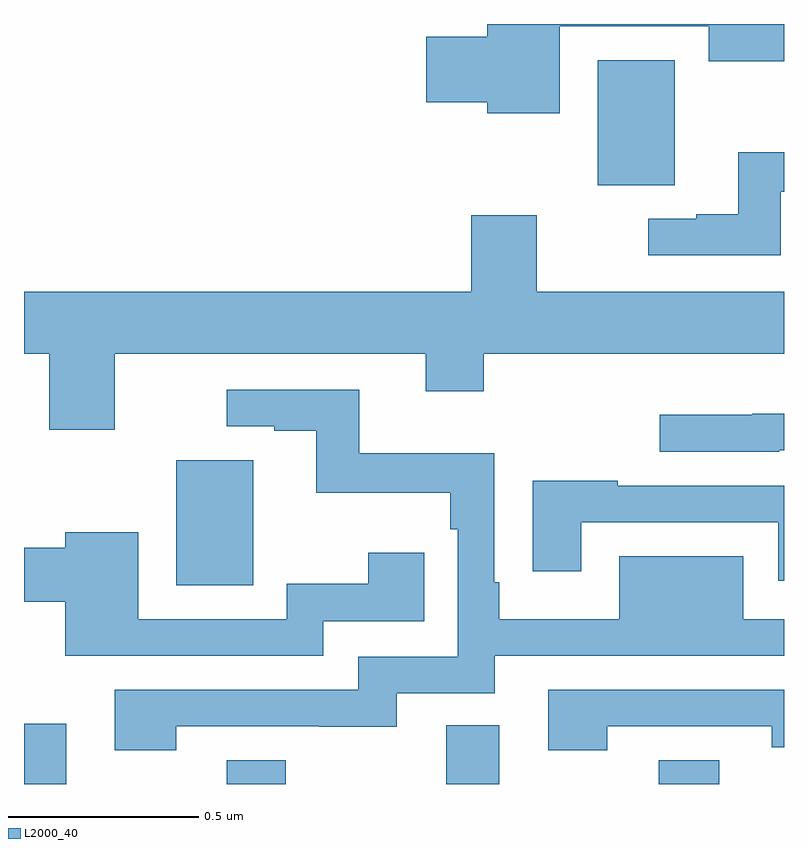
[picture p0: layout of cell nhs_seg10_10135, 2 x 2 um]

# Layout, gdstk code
import gdstk
lib = gdstk.Library(unit=1e-6, precision=1e-09)
def R(c, l, rs):  # rectangles x0, y0, x1, y1
    for r in rs: c.add(gdstk.rectangle(r[:2], r[2:], *l))
def P(c, l, *ps):  # polygons
    for p in ps: c.add(gdstk.Polygon(p, *l))
L2000_40 = (2000, 40)

nhs_seg10_10135 = lib.new_cell('nhs_seg10_10135')
R(nhs_seg10_10135, L2000_40, [(238,1316.5,238.111,1316.659), (238.534,1316.5,238.689,1316.563), (239.111,1316.5,239.251,1316.654), (239.671,1316.5,239.829,1316.563), (238.4,1317.023,238.603,1317.352), (239.51,1318.076,239.713,1318.405)])
P(nhs_seg10_10135, L2000_40, [(239.41,1318.494),(239.802,1318.494),(239.802,1318.402),(240,1318.402),(240,1318.5),(239.219,1318.5),(239.219,1318.467),(239.058,1318.467),(239.058,1318.294),(239.219,1318.294),(239.219,1318.265),(239.41,1318.265)],
  [(239.992,1318.058),(240,1318.058),(240,1318.162),(239.879,1318.162),(239.879,1318),(239.769,1318),(239.769,1317.987),(239.643,1317.987),(239.643,1317.891),(239.992,1317.891)],
  [(238.239,1317.632),(239.057,1317.632),(239.057,1317.533),(239.21,1317.533),(239.21,1317.632),(240,1317.632),(240,1317.796),(239.349,1317.796),(239.349,1317.997),(239.177,1317.997),(239.177,1317.796),(238,1317.796),(238,1317.632),(238.067,1317.632),(238.067,1317.432),(238.239,1317.432)],
  [(238.4,1316.652),(238.777,1316.652),(238.777,1316.651),(238.981,1316.651),(238.981,1316.739),(239.239,1316.739),(239.239,1316.838),(240,1316.838),(240,1316.934),(239.893,1316.934),(239.893,1317.1),(239.567,1317.1),(239.567,1316.934),(239.251,1316.934),(239.251,1317.031),(239.238,1317.031),(239.238,1317.37),(238.882,1317.37),(238.882,1317.537),(238.533,1317.537),(238.533,1317.441),(238.659,1317.441),(238.659,1317.429),(238.769,1317.429),(238.769,1317.266),(239.122,1317.266),(239.122,1317.17),(239.142,1317.17),(239.142,1316.835),(238.88,1316.835),(238.88,1316.748),(238.239,1316.748),(238.239,1316.589),(238.4,1316.589)],
  [(239.987,1317.378),(240,1317.378),(240,1317.475),(239.916,1317.475),(239.916,1317.472),(239.673,1317.472),(239.673,1317.375),(239.987,1317.375)],
  [(240,1317.285),(239.563,1317.285),(239.563,1317.298),(239.339,1317.298),(239.339,1317.06),(239.467,1317.06),(239.467,1317.189),(239.985,1317.189),(239.985,1317.035),(240,1317.035)],
  [(238.788,1316.928),(239.053,1316.928),(239.053,1317.109),(238.906,1317.109),(238.906,1317.027),(238.692,1317.027),(238.692,1316.934),(238.3,1316.934),(238.3,1317.163),(238.109,1317.163),(238.109,1317.122),(238,1317.122),(238,1316.98),(238.109,1316.98),(238.109,1316.838),(238.788,1316.838)],
  [(239.535,1316.652),(239.968,1316.652),(239.968,1316.597),(240,1316.597),(240,1316.748),(239.379,1316.748),(239.379,1316.589),(239.535,1316.589)])

lib.write_gds('nhs_seg10_10135.gds')
